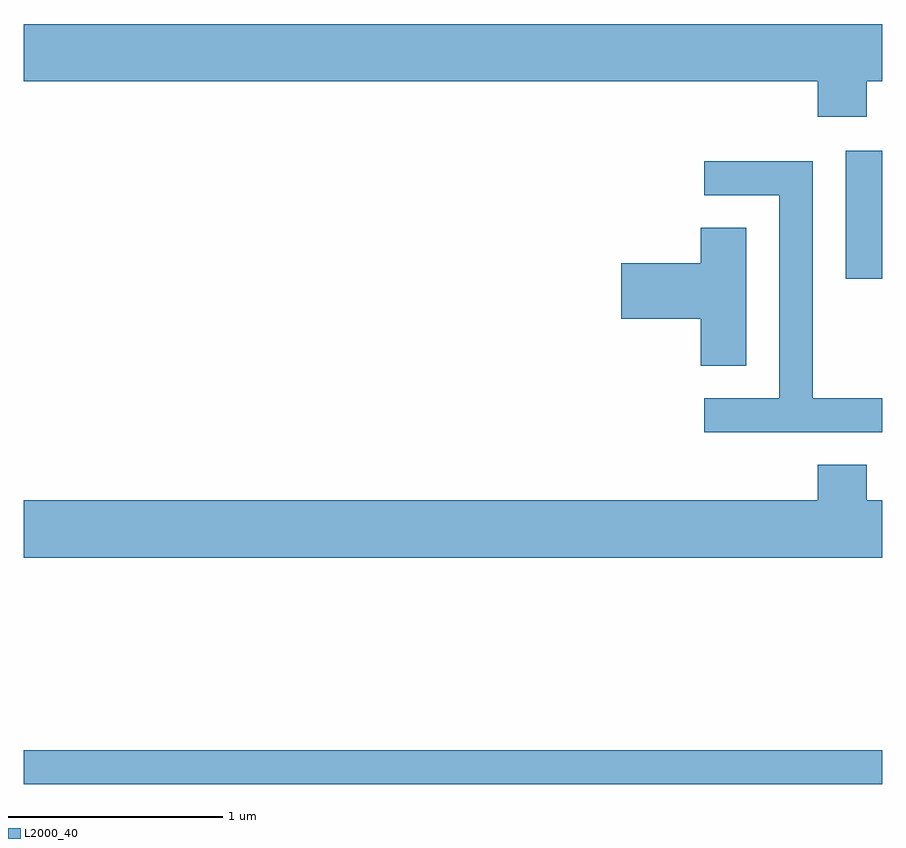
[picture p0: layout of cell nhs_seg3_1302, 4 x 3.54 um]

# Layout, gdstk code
import gdstk
lib = gdstk.Library(unit=1e-6, precision=1e-09)
def R(c, l, rs):  # rectangles x0, y0, x1, y1
    for r in rs: c.add(gdstk.rectangle(r[:2], r[2:], *l))
def P(c, l, *ps):  # polygons
    for p in ps: c.add(gdstk.Polygon(p, *l))
L2000_40 = (2000, 40)

nhs_seg3_1302 = lib.new_cell('nhs_seg3_1302')
R(nhs_seg3_1302, L2000_40, [(223.611,1136.061,227.611,1136.219), (227.441,1138.416,227.611,1139.014)])
P(nhs_seg3_1302, L2000_40, [(227.539,1139.336),(227.611,1139.336),(227.611,1139.604),(223.611,1139.604),(223.611,1139.336),(227.311,1139.336),(227.311,1139.171),(227.539,1139.171)],
  [(227.611,1137.859),(227.289,1137.859),(227.289,1138.964),(226.783,1138.964),(226.783,1138.806),(227.131,1138.806),(227.131,1137.859),(226.783,1137.859),(226.783,1137.701),(227.611,1137.701)],
  [(226.979,1138.654),(226.766,1138.654),(226.766,1138.489),(226.396,1138.489),(226.396,1138.231),(226.766,1138.231),(226.766,1138.011),(226.979,1138.011)],
  [(227.611,1137.384),(227.539,1137.384),(227.539,1137.549),(227.311,1137.549),(227.311,1137.384),(223.611,1137.384),(223.611,1137.116),(227.611,1137.116)])

lib.write_gds('nhs_seg3_1302.gds')
